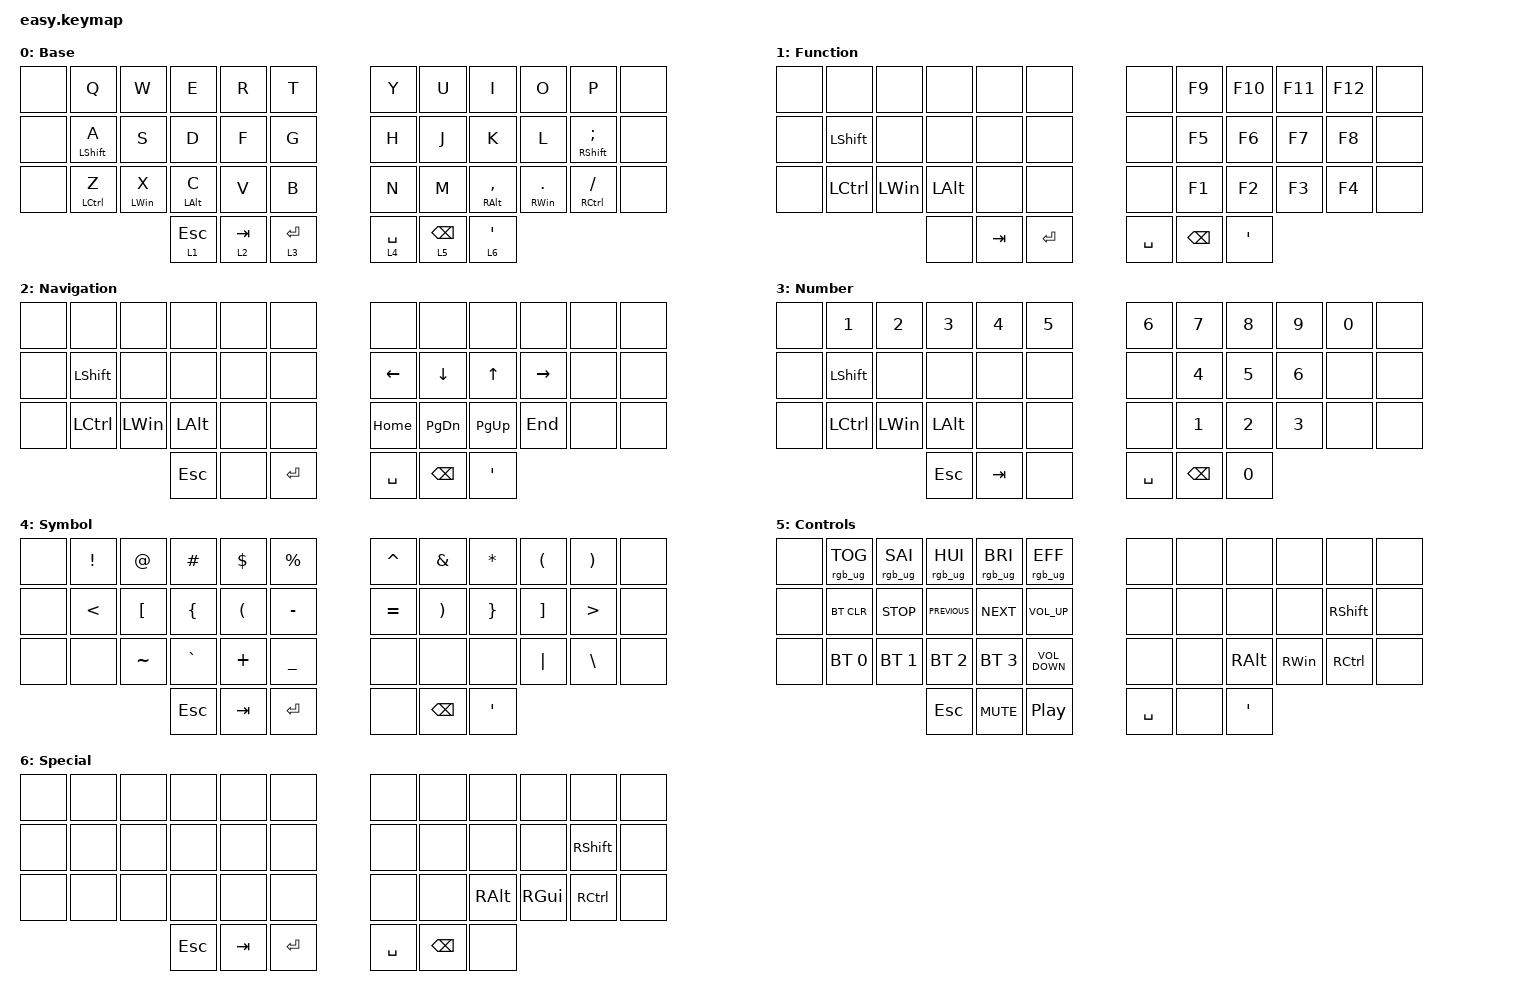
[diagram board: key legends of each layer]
// corne.yasui
#include <behaviors.dtsi>
#include <dt-bindings/zmk/keys.h>
#include <dt-bindings/zmk/rgb.h>
#include <dt-bindings/zmk/bt.h>

/ {
    keymap {
        compatible = "zmk,keymap";

        Base {
            label = "Base";
            bindings = <
&none  &kp Q               &kp W           &kp E           &kp R      &kp T          &kp Y        &kp U            &kp I                &kp O                 &kp P                      &none
&none  &mt LEFT_SHIFT A    &kp S           &kp D           &kp F      &kp G          &kp H        &kp J            &kp K                &kp L                 &mt RIGHT_SHIFT SEMICOLON  &none
&none  &mt LEFT_CONTROL Z  &mt LEFT_WIN X  &mt LEFT_ALT C  &kp V      &kp B          &kp N        &kp M            &mt RIGHT_ALT COMMA  &mt RIGHT_WIN PERIOD  &mt RIGHT_CONTROL SLASH    &none
                                           &lt 1 ESCAPE    &lt 2 TAB  &lt 3 ENTER    &lt 4 SPACE  &lt 5 BACKSPACE  &lt 6 SINGLE_QUOTE
            >;
        };

        Function {
            label = "Function";
            bindings = <
&none  &none             &none         &none         &none    &none        &none      &kp F9         &kp F10           &kp F11  &kp F12  &none
&none  &kp LEFT_SHIFT    &none         &none         &none    &none        &none      &kp F5         &kp F6            &kp F7   &kp F8   &none
&none  &kp LEFT_CONTROL  &kp LEFT_WIN  &kp LEFT_ALT  &none    &none        &none      &kp F1         &kp F2            &kp F3   &kp F4   &none
                                       &none         &kp TAB  &kp ENTER    &kp SPACE  &kp BACKSPACE  &kp SINGLE_QUOTE
            >;
        };

        Navigation {
            label = "Navigation";
            bindings = <
&none  &none             &none         &none         &none  &none        &none      &none          &none             &none      &none  &none
&none  &kp LEFT_SHIFT    &none         &none         &none  &none        &kp LEFT   &kp DOWN       &kp UP            &kp RIGHT  &none  &none
&none  &kp LEFT_CONTROL  &kp LEFT_WIN  &kp LEFT_ALT  &none  &none        &kp HOME   &kp PAGE_DOWN  &kp PAGE_UP       &kp END    &none  &none
                                       &kp ESCAPE    &none  &kp ENTER    &kp SPACE  &kp BACKSPACE  &kp SINGLE_QUOTE
            >;
        };

        Number {
            label = "Number";
            bindings = <
&none  &kp N1            &kp N2        &kp N3        &kp N4   &kp N5    &kp N6     &kp N7         &kp N8  &kp N9  &kp N0  &none
&none  &kp LEFT_SHIFT    &none         &none         &none    &none     &none      &kp N4         &kp N5  &kp N6  &none   &none
&none  &kp LEFT_CONTROL  &kp LEFT_WIN  &kp LEFT_ALT  &none    &none     &none      &kp N1         &kp N2  &kp N3  &none   &none
                                       &kp ESCAPE    &kp TAB  &none     &kp SPACE  &kp BACKSPACE  &kp N0
            >;
        };

        Symbol {
            label = "Symbol";
            bindings = <
&none  &kp EXCL       &kp AT            &kp HASH        &kp DLLR              &kp PRCNT         &kp CARET  &kp AMPS               &kp STAR          &kp LPAR           &kp RPAR          &none
&none  &kp LESS_THAN  &kp LEFT_BRACKET  &kp LEFT_BRACE  &kp LEFT_PARENTHESIS  &kp MINUS         &kp EQUAL  &kp RIGHT_PARENTHESIS  &kp RIGHT_BRACE   &kp RIGHT_BRACKET  &kp GREATER_THAN  &none
&none  &none          &kp TILDE         &kp GRAVE       &kp PLUS              &kp UNDERSCORE    &none      &none                  &none             &kp PIPE           &kp BACKSLASH     &none
                                        &kp ESCAPE      &kp TAB               &kp RETURN        &none      &kp BACKSPACE          &kp SINGLE_QUOTE
            >;
        };

        Controls {
            label = "Controls";
            bindings = <
&none  &rgb_ug RGB_TOG  &rgb_ug RGB_SAI  &rgb_ug RGB_HUI  &rgb_ug RGB_BRI  &rgb_ug RGB_EFF      &none      &none  &none             &none          &none              &none
&none  &bt BT_CLR       &kp C_STOP       &kp C_PREVIOUS   &kp C_NEXT       &kp C_VOLUME_UP      &none      &none  &none             &none          &kp RIGHT_SHIFT    &none
&none  &bt BT_SEL 0     &bt BT_SEL 1     &bt BT_SEL 2     &bt BT_SEL 3     &kp C_VOLUME_DOWN    &none      &none  &kp RIGHT_ALT     &kp RIGHT_WIN  &kp RIGHT_CONTROL  &none
                                         &kp ESCAPE       &kp C_MUTE       &kp C_PLAY_PAUSE     &kp SPACE  &none  &kp SINGLE_QUOTE
            >;
        };

        Special {
            label = "Special";
            bindings = <
&none  &none  &none  &none       &none    &none        &none      &none          &none          &none          &none              &none
&none  &none  &none  &none       &none    &none        &none      &none          &none          &none          &kp RIGHT_SHIFT    &none
&none  &none  &none  &none       &none    &none        &none      &none          &kp RIGHT_ALT  &kp RIGHT_GUI  &kp RIGHT_CONTROL  &none
                     &kp ESCAPE  &kp TAB  &kp ENTER    &kp SPACE  &kp BACKSPACE  &none
            >;
        };
    };
};

